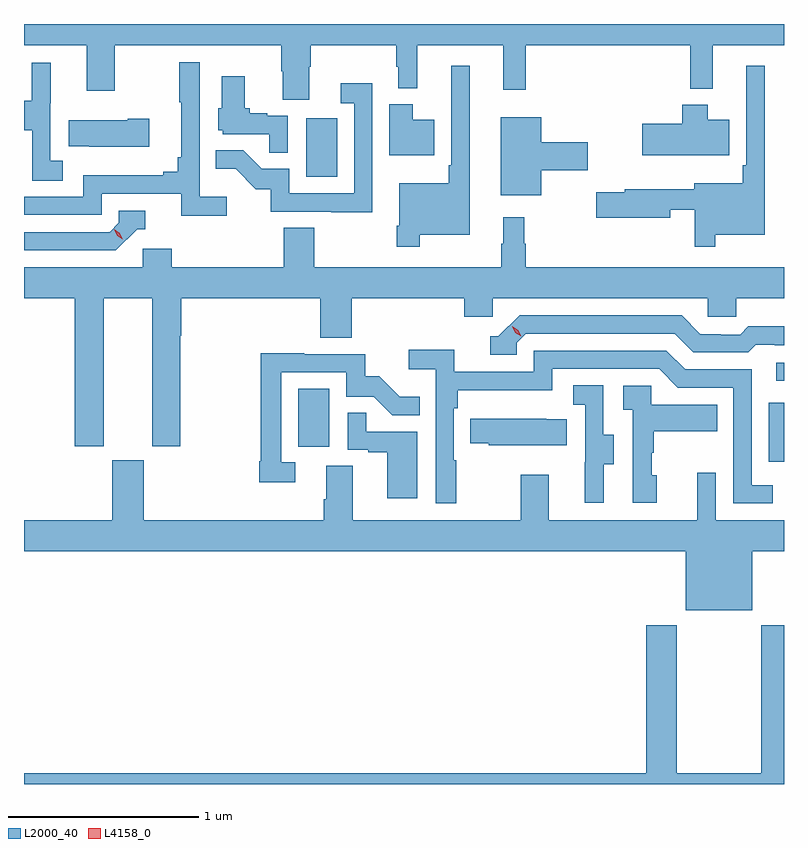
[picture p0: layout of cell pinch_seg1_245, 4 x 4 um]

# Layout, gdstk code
import gdstk
lib = gdstk.Library(unit=1e-6, precision=1e-09)
def R(c, l, rs):  # rectangles x0, y0, x1, y1
    for r in rs: c.add(gdstk.rectangle(r[:2], r[2:], *l))
def P(c, l, *ps):  # polygons
    for p in ps: c.add(gdstk.Polygon(p, *l))
L2000_40 = (2000, 40)
L4158_0 = (4158, 0)

pinch_seg1_245 = lib.new_cell('pinch_seg1_245')
R(pinch_seg1_245, L2000_40, [(905.946,574.848,906.027,575.158), (903.47,574.926,903.634,575.233), (905.985,575.274,906.027,575.37), (903.512,576.348,903.676,576.655)])
P(pinch_seg1_245, L2000_40, [(903.529,576.928),(903.537,576.928),(903.537,577.04),(903.987,577.04),(903.987,576.928),(903.998,576.928),(903.998,576.815),(904.097,576.815),(904.097,577.04),(904.55,577.04),(904.55,576.807),(904.667,576.807),(904.667,577.04),(905.533,577.04),(905.533,576.812),(905.651,576.812),(905.651,577.04),(906.027,577.04),(906.027,577.152),(902.027,577.152),(902.027,577.04),(902.357,577.04),(902.357,576.801),(902.505,576.801),(902.505,577.04),(903.382,577.04),(903.382,576.903),(903.389,576.903),(903.389,576.754),(903.529,576.754)],
  [(903.094,576.244),(902.952,576.244),(902.952,576.952),(902.844,576.952),(902.844,576.739),(902.855,576.739),(902.855,576.451),(902.836,576.451),(902.836,576.374),(902.759,576.374),(902.759,576.355),(902.34,576.355),(902.34,576.243),(902.027,576.243),(902.027,576.147),(902.436,576.147),(902.436,576.258),(902.855,576.258),(902.855,576.142),(903.094,576.142)],
  [(902.23,576.431),(902.166,576.431),(902.166,576.735),(902.168,576.735),(902.168,576.949),(902.069,576.949),(902.069,576.747),(902.027,576.747),(902.027,576.592),(902.07,576.592),(902.07,576.328),(902.23,576.328)],
  [(904.111,576.044),(904.372,576.044),(904.372,576.931),(904.275,576.931),(904.275,576.409),(904.263,576.409),(904.263,576.313),(904.002,576.313),(904.002,576.091),(903.99,576.091),(903.99,575.979),(904.111,575.979)],
  [(905.665,576.044),(905.926,576.044),(905.926,576.931),(905.829,576.931),(905.829,576.409),(905.809,576.409),(905.809,576.313),(905.555,576.313),(905.555,576.283),(905.189,576.283),(905.189,576.266),(905.04,576.266),(905.04,576.131),(905.428,576.131),(905.428,576.174),(905.556,576.174),(905.556,575.979),(905.665,575.979)],
  [(903.414,576.669),(903.308,576.669),(903.308,576.682),(903.216,576.682),(903.216,576.708),(903.19,576.708),(903.19,576.877),(903.068,576.877),(903.068,576.708),(903.05,576.708),(903.05,576.594),(903.072,576.594),(903.072,576.573),(903.319,576.573),(903.319,576.475),(903.414,576.475)],
  [(903.861,576.841),(903.693,576.841),(903.693,576.735),(903.765,576.735),(903.765,576.261),(903.423,576.261),(903.423,576.39),(903.279,576.39),(903.181,576.488),(903.037,576.488),(903.037,576.389),(903.141,576.389),(903.248,576.282),(903.325,576.282),(903.325,576.165),(903.643,576.165),(903.643,576.16),(903.861,576.16)],
  [(904.186,576.649),(904.072,576.649),(904.072,576.73),(903.95,576.73),(903.95,576.461),(904.186,576.461)],
  [(905.74,576.649),(905.626,576.649),(905.626,576.727),(905.492,576.727),(905.492,576.627),(905.28,576.627),(905.28,576.461),(905.74,576.461)],
  [(904.75,576.383),(904.993,576.383),(904.993,576.53),(904.75,576.53),(904.75,576.661),(904.535,576.661),(904.535,576.251),(904.75,576.251)],
  [(902.686,576.654),(902.573,576.654),(902.573,576.646),(902.263,576.646),(902.263,576.509),(902.371,576.509),(902.371,576.506),(902.686,576.506)],
  [(902.622,576.072),(902.665,576.072),(902.665,576.168),(902.526,576.168),(902.526,576.105),(902.478,576.057),(902.027,576.057),(902.027,575.961),(902.511,575.961)],
  [(902.446,575.708),(902.702,575.708),(902.702,574.929),(902.85,574.929),(902.85,575.512),(902.855,575.512),(902.855,575.708),(903.587,575.708),(903.587,575.5),(903.752,575.5),(903.752,575.708),(904.343,575.708),(904.343,575.61),(904.494,575.61),(904.494,575.708),(905.625,575.708),(905.625,575.61),(905.775,575.61),(905.775,575.708),(906.027,575.708),(906.027,575.872),(904.667,575.872),(904.667,575.996),(904.66,575.996),(904.66,576.136),(904.55,576.136),(904.55,575.996),(904.539,575.996),(904.539,575.872),(903.555,575.872),(903.555,576.08),(903.395,576.08),(903.395,575.872),(902.804,575.872),(902.804,575.97),(902.652,575.97),(902.652,575.872),(902.027,575.872),(902.027,575.708),(902.294,575.708),(902.294,574.929),(902.446,574.929)],
  [(904.62,575.475),(904.668,575.523),(905.451,575.523),(905.55,575.424),(905.839,575.424),(905.878,575.463),(905.977,575.463),(905.977,575.46),(906.027,575.46),(906.027,575.56),(905.839,575.56),(905.797,575.517),(905.694,575.517),(905.694,575.52),(905.587,575.52),(905.488,575.619),(904.635,575.619),(904.524,575.508),(904.481,575.508),(904.481,575.412),(904.62,575.412)],
  [(904.303,574.856),(904.29,574.856),(904.29,575.129),(904.31,575.129),(904.31,575.225),(904.806,575.225),(904.806,575.337),(905.37,575.337),(905.469,575.238),(905.76,575.238),(905.76,574.629),(905.969,574.629),(905.969,574.725),(905.856,574.725),(905.856,575.334),(905.506,575.334),(905.407,575.433),(904.71,575.433),(904.71,575.322),(904.292,575.322),(904.292,575.438),(904.053,575.438),(904.053,575.336),(904.194,575.336),(904.194,574.629),(904.303,574.629)],
  [(903.454,574.845),(903.381,574.845),(903.381,575.319),(903.723,575.319),(903.723,575.19),(903.867,575.19),(903.965,575.092),(904.109,575.092),(904.109,575.191),(904.005,575.191),(903.898,575.298),(903.822,575.298),(903.822,575.415),(903.503,575.415),(903.503,575.42),(903.273,575.42),(903.273,574.852),(903.265,574.852),(903.265,574.74),(903.454,574.74)],
  [(905.077,574.834),(905.131,574.834),(905.131,574.989),(905.076,574.989),(905.076,575.252),(904.917,575.252),(904.917,575.149),(904.98,575.149),(904.98,574.845),(904.979,574.845),(904.979,574.632),(905.077,574.632)],
  [(905.356,574.776),(905.331,574.776),(905.331,574.895),(905.341,574.895),(905.341,575.009),(905.675,575.009),(905.675,575.149),(905.328,575.149),(905.328,575.247),(905.181,575.247),(905.181,575.123),(905.232,575.123),(905.232,574.632),(905.356,574.632)],
  [(904.096,575.007),(903.827,575.007),(903.827,575.105),(903.732,575.105),(903.732,574.911),(903.839,574.911),(903.839,574.899),(903.938,574.899),(903.938,574.656),(904.096,574.656)],
  [(904.883,575.071),(904.775,575.071),(904.775,575.074),(904.375,575.074),(904.375,574.945),(904.473,574.945),(904.473,574.934),(904.883,574.934)],
  [(905.86,574.376),(906.027,574.376),(906.027,574.54),(905.667,574.54),(905.667,574.789),(905.57,574.789),(905.57,574.54),(904.789,574.54),(904.789,574.78),(904.642,574.78),(904.642,574.54),(903.757,574.54),(903.757,574.826),(903.617,574.826),(903.617,574.652),(903.605,574.652),(903.605,574.54),(902.656,574.54),(902.656,574.857),(902.492,574.857),(902.492,574.54),(902.027,574.54),(902.027,574.376),(905.51,574.376),(905.51,574.067),(905.86,574.067)],
  [(906.027,573.988),(905.908,573.988),(905.908,573.208),(905.463,573.208),(905.463,573.988),(905.303,573.988),(905.303,573.208),(902.027,573.208),(902.027,573.152),(906.027,573.152)])
P(pinch_seg1_245, L4158_0, [(902.548,576.019),(902.518,576.038),(902.502,576.07),(902.502,576.071),(902.502,576.071),(902.532,576.051),(902.548,576.019),(902.548,576.019)],
  [(904.643,575.508),(904.612,575.527),(904.596,575.56),(904.596,575.56),(904.596,575.56),(904.627,575.541),(904.643,575.508),(904.643,575.508)])

lib.write_gds('pinch_seg1_245.gds')
